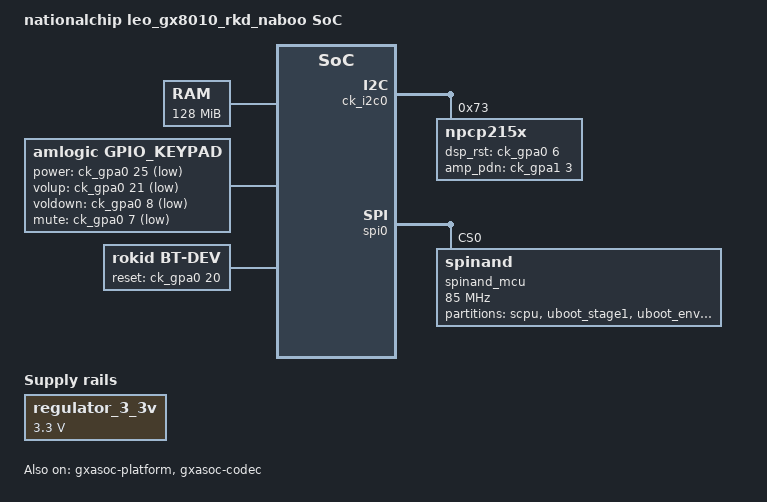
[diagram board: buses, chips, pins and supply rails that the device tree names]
/*
 *  Copyright (C) 2013 Steffen Trumtrar <s.trumtrar@pengutronix.de>
 *
 * This program is free software; you can redistribute it and/or modify
 * it under the terms of the GNU General Public License as published by
 * the Free Software Foundation; either version 2 of the License, or
 * (at your option) any later version.
 *
 * This program is distributed in the hope that it will be useful,
 * but WITHOUT ANY WARRANTY; without even the implied warranty of
 * MERCHANTABILITY or FITNESS FOR A PARTICULAR PURPOSE.  See the
 * GNU General Public License for more details.
 *
 * You should have received a copy of the GNU General Public License
 * along with this program.  If not, see <http://www.gnu.org/licenses/>.
 */

/dts-v1/;
/* First 4KB has trampoline code for secondary cores. */
/* /memreserve/ 0x00000000 0x0001000; */

#include "leo.dtsi"

/ {
	model = "nationalchip leo_gx8010_rkd_naboo SoC";
	compatible = "nationalchip,leo_gx8010_rkd_naboo", "nationalchip,leo";

	chosen {
		bootargs = "earlyprintk";
		stdout-path = "serial0:115200n8";
	};

	memory {
		name = "memory";
		device_type = "memory";
		reg = <0x10000000 0x8000000>;
	};

	aliases {
		/* this allow the ethaddr uboot environmnet variable contents
		 * to be added to the gmac1 device tree blob.
		 */
	};

	regulator_3_3v: vcc3p3-regulator {
		compatible = "regulator-fixed";
		regulator-name = "VCC3P3";
		regulator-min-microvolt = <3300000>;
		regulator-max-microvolt = <3300000>;
	};

/*
	a7_key:a7_key@0x2305008{
		compatible = "nationalchip,LEO-keypad";
		reg = <0x230501c 0x90>;
		autorepeat;
	};

	csky_key:csky_key@0x305004{
		compatible = "nationalchip,LEO-keypad";
		reg = <0x30501c 0x90>;
		autorepeat;

        key1:key1{
			key_code  = <KEY_MUTE>;
			key_gpio = <7>;
		};
        key2:key2{
			key_code  = <KEY_VOLUMEUP>;
			key_gpio = <8>;
		};
        key3:key3{
			key_code  = <KEY_VOLUMEDOWN>;
			key_gpio = <21>;
		};
	};
*/

/*	gpio_keypad{
		compatible = "amlogic, gpio_keypad";
		status = "okay";
		scan_period = <20>;

		key_num = <5>;
		key_name = "power", "volup", "voldown" , "mute", "lock";
		key_code = <116 115 114 113 152>;

		power-gpio =   <&ck_gpa0 20 GPIO_ACTIVE_LOW>;
		volup-gpio =   <&ck_gpa0 8 GPIO_ACTIVE_LOW>;
		voldown-gpio = <&ck_gpa0 21 GPIO_ACTIVE_LOW>;
		mute-gpio =    <&ck_gpa0 7 GPIO_ACTIVE_LOW>;
		lock-gpio =    <&ck_gpa0 18 GPIO_ACTIVE_LOW>;

		//gpio_high_z = <1>;
		//irq_keyup = <6>;
		//irq_keydown = <7>;
	};
*/
	gpio_keypad{
		compatible = "amlogic, gpio_keypad";
		status = "okay";
		scan_period = <20>;

		key_num = <4>;
		key_name = "power", "volup", "voldown" , "mute";
		key_code = <116 115 114 113>;

		power-gpio =   <&ck_gpa0 25 GPIO_ACTIVE_LOW>;
		volup-gpio =   <&ck_gpa0 21 GPIO_ACTIVE_LOW>;
		voldown-gpio = <&ck_gpa0 8 GPIO_ACTIVE_LOW>;
		mute-gpio =    <&ck_gpa0 7 GPIO_ACTIVE_LOW>;

		//gpio_high_z = <1>;
		//irq_keyup = <6>;
		//irq_keydown = <7>;
	};
/*
	switch_key{
		compatible = "rokid, switch_key";
		status = "okay";
		switch_name = "lock";
		switch_pin = <&ck_gpa0 18 GPIO_ACTIVE_LOW>;
		switch-gpio-pull = <0>;//0: pull disable, 1: pull down, 2: pull up
		debounce = <0>;
	};
*/
	urat1_control{
		compatible = "nationalchip,LEO_uart_control";
		reg = <0x02308000 0x1000>;
		val = <0x01>;
		cts-gpio = <&gpa0 27 GPIO_ACTIVE_HIGH>;
		rts-gpio = <&gpa0 26 GPIO_ACTIVE_HIGH>;
	};

	gxasoc-machine {
		name = "gxasoc-machine";
		compatible = "NationalChip,ASoc-Machine";
		num_codecs = <2>;
		codec-name     = "gxasoc-lodac", "npcp215x";
		codec-dai-name = "gxasoc-lodac-dai", "npcp215x-voice";
		platform-name  = "gxasoc-platform";
		cup-dai-name   = "gxasoc-platform-dai";
		status = "okay";
	};

	gxasoc-platform {
		dev-name   = "gxasoc-platform";
		compatible = "NationalChip,ASoc-Platform";
		reg = <0x01200000 0xf4>;
		reg-names = "gxasoc.aout.regs";
		status = "okay";
	};

	gxasoc-codec {
		dev-name   = "gxasoc-lodac";
		compatible = "NationalChip,ASoc-Lodac";
		reg = <0x0030a1a0 0xc>;
		reg-names = "gxasoc.lodac.regs";
		status = "okay";
	};

	gxasoc-platform_dai {
		dev-name   = "gxasoc-platform-dai";
		compatible = "NationalChip,ASoc-Platform_Dai";
		status = "okay";
	};

	bt-dev{
		compatible = "rokid, bt-dev";
		dev_name = "bt-dev";
		status = "okay";
		reset-gpio = <&ck_gpa0 20 GPIO_ACTIVE_HIGH>;
	};

};

&ck_i2c0{
	status = "okay";
};

&spi0{
	status = "okay";

	/* spi nor flash */
	/*M25P@0 {
		compatible = "jedec,spi-nor";
		spi-max-frequency = <85000000>;
		reg = <1>;
		status = "okay";

		partitions {
			#address-cells = <1>;
			#size-cells = <1>;
			compatible = "fixed-partitions";
			scpu {		reg = <0x000000 0x100000>; };
			uboot_stage1 {	reg = <0x100000 0x40000>;  };
			uboot_env {	reg = <0x140000 0x40000>;  };
			uboot_stage2 {	reg = <0x180000 0x80000>;  };
			boot_music {	reg = <0x200000 0x80000>;  };
			kernel_dtb {	reg = <0x280000 0x80000>;  };
			kernel {	reg = <0x300000 0x500000>; };
		};
	};*/

	/* spi nand flash */
	spinand_mcu@0 {
		compatible = "spinand";
		spi-max-frequency = <85000000>;
		reg = <0>;
		status = "okay";

		partitions {
			#address-cells = <1>;
			#size-cells = <1>;
			compatible = "fixed-partitions";
			scpu {		reg = <0x000000 0x100000>; };
			uboot_stage1 {	reg = <0x100000 0x40000>;  };
			uboot_env {	reg = <0x140000 0x40000>;  };
			uboot_stage2 {	reg = <0x180000 0x80000>;  };
			boot_music {	reg = <0x200000 0x80000>;  };
			kernel_dtb {	reg = <0x280000 0x80000>;  };
			kernel {	reg = <0x300000 0x700000>; };
			rootfs {	reg = <0xa00000 0x7600000>;};
		};
	};
};

&mmc0{
	status = "disabled";
};


&ck_i2c0{
	npcp215x@73 {
		compatible = "npcp215x";
		dev-name = "npcp215x";
		reg = <0x73>;
		dsp_rst-gpio = <&ck_gpa0 6 GPIO_ACTIVE_HIGH>;
		amp_pdn-gpio = <&ck_gpa1 3 GPIO_ACTIVE_HIGH>;
	};
/*
	nau8822@1a {
		compatible = "nau8822";
		dev-name = "nau8822";
		reg = <0x1a>;
	};
*/
#if 0
	lis331dlh: lis331dlh@18 {
		compatible = "st,lis331dlh", "st,lis3lv02d";
		reg = <0x18>;
		//Vdd-supply = <&lis3_reg>;
		//Vdd_IO-supply = <&lis3_reg>;

		st,click-single-x;
		st,click-single-y;
		st,click-single-z;
		st,click-thresh-x = <10>;
		st,click-thresh-y = <10>;
		st,click-thresh-z = <10>;
		st,irq1-click;
		st,irq2-click;
		st,wakeup-x-lo;
		st,wakeup-x-hi;
		st,wakeup-y-lo;
		st,wakeup-y-hi;
		st,wakeup-z-lo;
		st,wakeup-z-hi;
		st,min-limit-x = <120>;
		st,min-limit-y = <120>;
		st,min-limit-z = <140>;
		st,max-limit-x = <550>;
		st,max-limit-y = <550>;
		st,max-limit-z = <750>;
		st,default-rate = <100>;
	};
#endif
};
